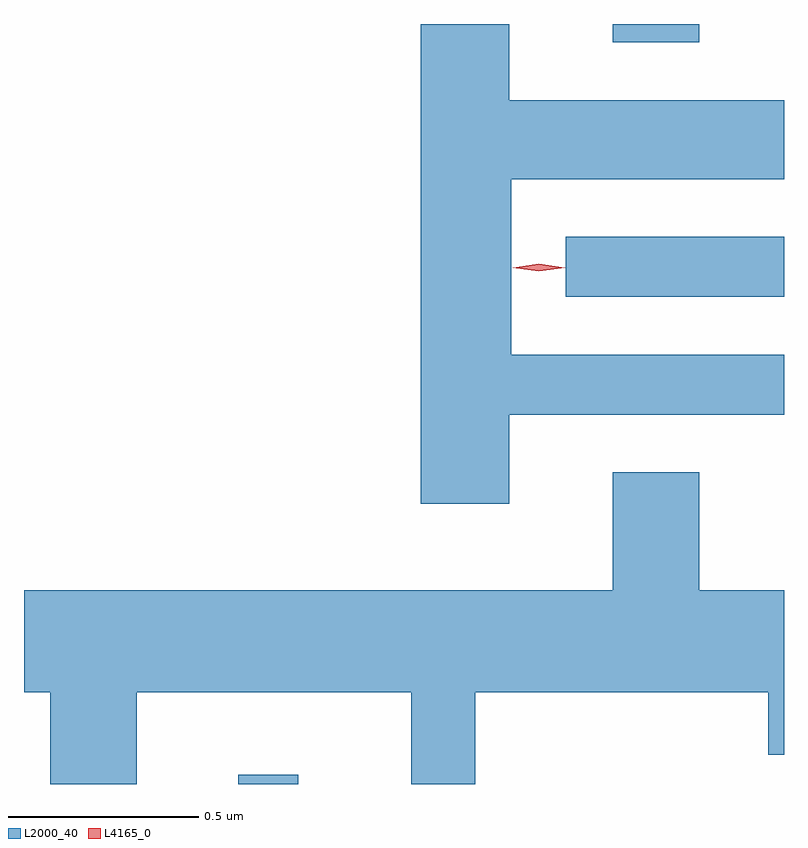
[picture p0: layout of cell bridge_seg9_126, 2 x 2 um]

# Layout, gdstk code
import gdstk
lib = gdstk.Library(unit=1e-6, precision=1e-09)
def R(c, l, rs):  # rectangles x0, y0, x1, y1
    for r in rs: c.add(gdstk.rectangle(r[:2], r[2:], *l))
def P(c, l, *ps):  # polygons
    for p in ps: c.add(gdstk.Polygon(p, *l))
L2000_40 = (2000, 40)
L4165_0 = (4165, 0)

bridge_seg9_126 = lib.new_cell('bridge_seg9_126')
R(bridge_seg9_126, L2000_40, [(1785.466,1964.934,1785.624,1964.958), (1786.328,1966.216,1786.902,1966.374), (1786.451,1966.886,1786.679,1966.934)])
P(bridge_seg9_126, L2000_40, [(1786.179,1965.906),(1786.902,1965.906),(1786.902,1966.064),(1786.184,1966.064),(1786.184,1966.526),(1786.902,1966.526),(1786.902,1966.734),(1786.179,1966.734),(1786.179,1966.934),(1785.946,1966.934),(1785.946,1965.671),(1786.179,1965.671)],
  [(1785.199,1965.176),(1785.921,1965.176),(1785.921,1964.934),(1786.089,1964.934),(1786.089,1965.176),(1786.861,1965.176),(1786.861,1965.011),(1786.902,1965.011),(1786.902,1965.444),(1786.679,1965.444),(1786.679,1965.754),(1786.451,1965.754),(1786.451,1965.444),(1784.902,1965.444),(1784.902,1965.176),(1784.971,1965.176),(1784.971,1964.934),(1785.199,1964.934)])
P(bridge_seg9_126, L4165_0, [(1786.257,1966.283),(1786.188,1966.292),(1786.187,1966.293),(1786.188,1966.293),(1786.257,1966.303),(1786.326,1966.293),(1786.326,1966.293),(1786.326,1966.292)],
  [(1786.257,1966.283),(1786.191,1966.292),(1786.19,1966.293),(1786.191,1966.293),(1786.257,1966.303),(1786.322,1966.293),(1786.323,1966.293),(1786.322,1966.292)])

lib.write_gds('bridge_seg9_126.gds')
